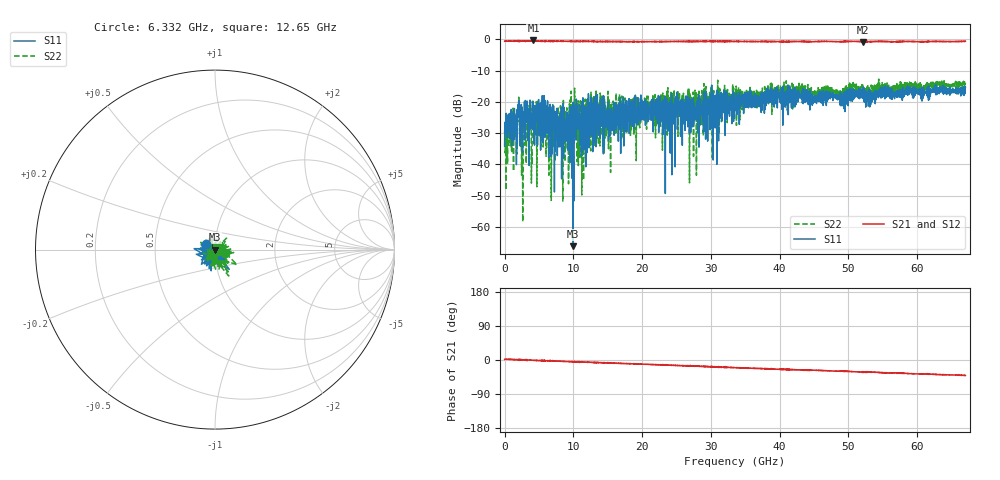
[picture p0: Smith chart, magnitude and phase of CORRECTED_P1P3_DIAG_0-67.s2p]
! Generated by Phase II Calibration
# Hz S RI R 50
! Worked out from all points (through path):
!   1601 points, 10 MHz to 67 GHz, reference 50 ohm
!   highest |S21| = -0.32 dB at 4.197 GHz (marker M1); lowest = -0.9 dB at 52.14 GHz (marker M2)
!   group delay of S21, straight-line fit = 1.78 ps
!   lowest |S11| = -66.2 dB at 9.933 GHz (marker M3), VSWR 1.00, Z = 50 + j0.0355 ohm
!   |S11| at or under -10 dB: start of sweep to end of sweep
!   |S22| runs from -58.4 to -12.7 dB; largest |S21 - S12| = 0.0042
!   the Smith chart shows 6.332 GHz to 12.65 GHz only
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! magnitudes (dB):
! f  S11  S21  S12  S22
! 10 MHz  -34.1  -0.5  -0.5  -30.0
! 386.8 MHz  -27.4  -0.5  -0.5  -28.0
! 2.02 GHz  -23.8  -0.6  -0.6  -24.3
! 2.69 GHz  -27.8  -0.6  -0.6  -29.6
! 3.527 GHz  -22.4  -0.5  -0.5  -31.2
! 4.197 GHz  -24.2  -0.3  -0.3  -24.5
! 5.118 GHz  -23.6  -0.5  -0.5  -24.1
! 6.625 GHz  -20.8  -0.7  -0.7  -28.7
! 7.839 GHz  -25.0  -0.6  -0.6  -28.4
! 8.551 GHz  -34.9  -0.5  -0.5  -19.5
! 9.933 GHz  -66.2  -0.6  -0.6  -26.6
! 10.6 GHz  -22.9  -0.6  -0.6  -20.8
! 11.19 GHz  -37.3  -0.6  -0.6  -22.7
! 13.03 GHz  -21.1  -0.7  -0.7  -31.9
! 14.58 GHz  -28.2  -0.7  -0.7  -31.7
! 22.37 GHz  -17.9  -0.7  -0.7  -21.2
! 27.22 GHz  -21.0  -0.5  -0.5  -24.3
! 33.51 GHz  -21.0  -0.6  -0.6  -16.8
! 44.68 GHz  -17.5  -0.7  -0.7  -17.3
! 52.14 GHz  -19.0  -0.9  -0.9  -17.0
! 55.86 GHz  -18.0  -0.7  -0.7  -14.6
! 67 GHz  -15.3  -0.6  -0.6  -13.9
